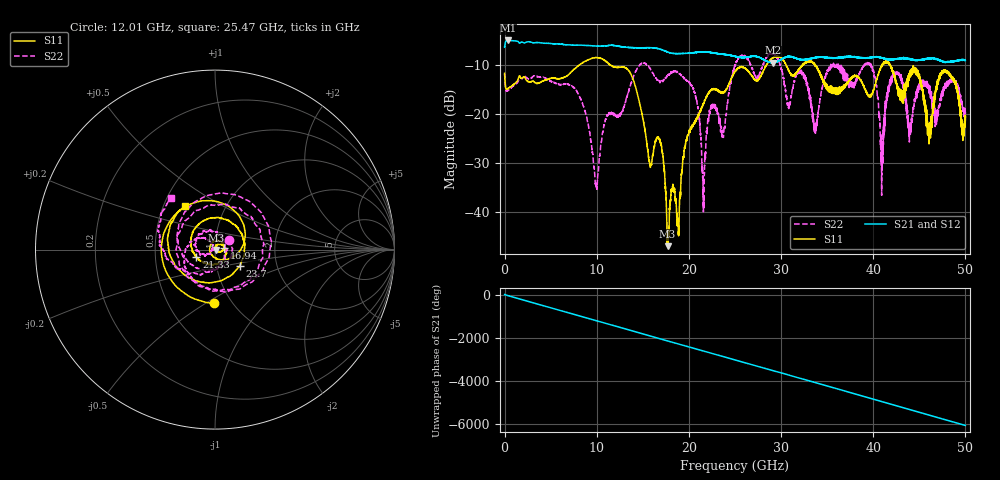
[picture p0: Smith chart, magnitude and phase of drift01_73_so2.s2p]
!Created with skrf (http://scikit-rf.org).
# Hz S RI R 50.0
!freq ReS11 ImS11 ReS21 ImS21 ReS12 ImS12 ReS22 ImS22
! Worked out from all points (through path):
!   10001 points, 300 kHz to 50 GHz, reference 50 ohm
!   highest |S21| = -5.05 dB at 365.3 MHz (marker M1); lowest = -9.6 dB at 29.12 GHz (marker M2)
!   group delay of S21, straight-line fit = 336 ps
!   lowest |S11| = -47.0 dB at 17.69 GHz (marker M3), VSWR 1.01, Z = 50.4 - j0.146 ohm
!   |S11| at or under -10 dB: start of sweep to 8.151 GHz; 11.43 GHz to 28.42 GHz (16.99 GHz wide, 85.3 % of centre); 41.84 GHz to end of sweep (the widest 3 of 16)
!   |S22| runs from -40.0 to -7.6 dB; largest |S21 - S12| = 0.014
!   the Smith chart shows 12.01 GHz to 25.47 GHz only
!   S11 on the Smith chart (normalised r, x): 12.01 GHz: 0.83, -0.54; 16.94 GHz: 1.10, +0.02; 21.33 GHz: 0.81, -0.07; 23.7 GHz: 1.29, -0.24; 25.47 GHz: 0.64, +0.34
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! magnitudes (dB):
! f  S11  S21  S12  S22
! 300 kHz  -11.8  -6.4  -6.5  -11.8
! 365.3 MHz  -14.9  -5.0  -5.1  -15.3
! 8.335 GHz  -9.7  -6.0  -6.0  -17.5
! 9.945 GHz  -8.6  -6.2  -6.2  -34.5
! 12.01 GHz  -10.5  -6.1  -6.1  -20.5
! 16.67 GHz  -24.8  -6.7  -6.7  -13.3
! 16.94 GHz  -26.0  -6.9  -6.9  -13.3
! 17.69 GHz  -47.0  -7.4  -7.4  -12.3
! 20.43 GHz  -22.5  -7.6  -7.6  -14.9
! 21.33 GHz  -19.1  -7.4  -7.4  -25.3
! 23.7 GHz  -15.6  -7.9  -7.9  -23.8
! 25 GHz  -11.4  -8.3  -8.3  -10.1
! 25.47 GHz  -10.6  -8.5  -8.5  -8.5
! 29.12 GHz  -8.6  -9.6  -9.6  -7.7
! 33.34 GHz  -9.5  -8.7  -8.7  -19.2
! 39.48 GHz  -16.2  -8.6  -8.6  -9.9
! 40.97 GHz  -10.1  -8.6  -8.6  -28.9
! 41.67 GHz  -9.5  -8.8  -9.0  -14.6
! 44.76 GHz  -11.7  -9.1  -9.0  -15.9
! 46.1 GHz  -24.6  -8.7  -8.7  -14.9
! 48.04 GHz  -11.6  -9.4  -9.4  -13.8
! 50 GHz  -21.4  -9.1  -9.1  -20.2
